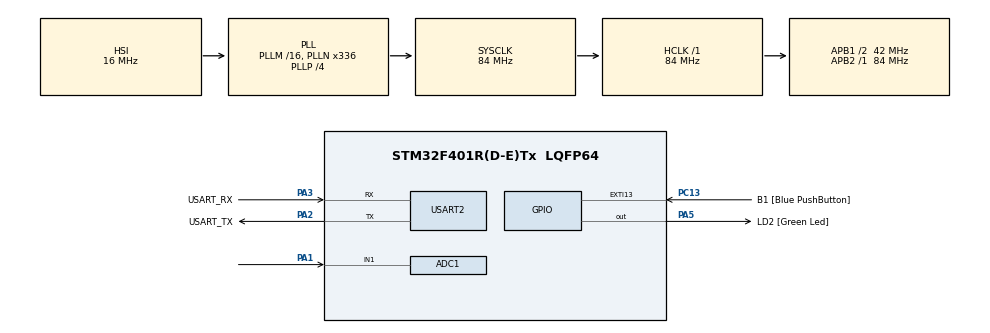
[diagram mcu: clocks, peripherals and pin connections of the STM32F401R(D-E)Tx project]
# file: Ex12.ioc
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ADC1.Channel-0\#ChannelRegularConversion=ADC_CHANNEL_1
ADC1.ExternalTrigConv=ADC_EXTERNALTRIGCONV_T3_TRGO
ADC1.NbrOfConversionFlag=1
ADC1.Rank-0\#ChannelRegularConversion=1
ADC1.SamplingTime-0\#ChannelRegularConversion=ADC_SAMPLETIME_480CYCLES
ADC1.master=1
Mcu.Family=STM32F4
Mcu.Name=STM32F401R(D-E)Tx
Mcu.Package=LQFP64
NVIC.ADC_IRQn=true\:0\:0\:true\:false\:true\:true\:true\:true
NVIC.PriorityGroup=NVIC_PRIORITYGROUP_0
NVIC.TIM1_TRG_COM_TIM11_IRQn=true\:0\:0\:true\:false\:true\:true\:true\:true
PA1.Signal=SharedAnalog_PA1
PA13.GPIO_Label=TMS
PA13.Mode=Serial_Wire
PA13.Signal=SYS_JTMS-SWDIO
PA14.GPIO_Label=TCK
PA14.Mode=Serial_Wire
PA14.Signal=SYS_JTCK-SWCLK
PA2.GPIO_Label=USART_TX
PA2.GPIO_Mode=GPIO_MODE_AF_PP
PA2.GPIO_PuPd=GPIO_NOPULL
PA2.GPIO_Speed=GPIO_SPEED_FREQ_LOW
PA2.Mode=Asynchronous
PA2.Signal=USART2_TX
PA3.GPIO_Label=USART_RX
PA3.GPIO_Mode=GPIO_MODE_AF_PP
PA3.GPIO_PuPd=GPIO_NOPULL
PA3.GPIO_Speed=GPIO_SPEED_FREQ_LOW
PA3.Mode=Asynchronous
PA3.Signal=USART2_RX
PA5.GPIO_Label=LD2 [Green Led]
PA5.GPIO_Mode=GPIO_MODE_OUTPUT_PP
PA5.GPIO_PuPd=GPIO_NOPULL
PA5.GPIO_Speed=GPIO_SPEED_FREQ_LOW
PA5.Signal=GPIO_Output
PB3.GPIO_Label=SWO
PB3.Signal=SYS_JTDO-SWO
PC13-ANTI_TAMP.GPIO_Label=B1 [Blue PushButton]
PC13-ANTI_TAMP.GPIO_ModeDefaultEXTI=GPIO_MODE_IT_FALLING
PC13-ANTI_TAMP.GPIO_PuPd=GPIO_NOPULL
PC13-ANTI_TAMP.Signal=GPXTI13
PC14-OSC32_IN.Mode=LSE-External-Oscillator
PC14-OSC32_IN.Signal=RCC_OSC32_IN
PC15-OSC32_OUT.Mode=LSE-External-Oscillator
PC15-OSC32_OUT.Signal=RCC_OSC32_OUT
PH0\ -\ OSC_IN.Mode=HSE-External-Clock-Source
PH0\ -\ OSC_IN.Signal=RCC_OSC_IN
PH1\ -\ OSC_OUT.Mode=HSE-External-Clock-Source
PH1\ -\ OSC_OUT.Signal=RCC_OSC_OUT
ProjectManager.HeapSize=0x200
ProjectManager.StackSize=0x400
ProjectManager.TargetToolchain=STM32CubeIDE
RCC.48MHZClocksFreq_Value=48000000
RCC.AHBFreq_Value=84000000
RCC.APB1CLKDivider=RCC_HCLK_DIV2
RCC.APB1Freq_Value=42000000
RCC.APB1TimFreq_Value=84000000
RCC.APB2Freq_Value=84000000
RCC.APB2TimFreq_Value=84000000
RCC.CortexFreq_Value=84000000
RCC.HCLKFreq_Value=84000000
RCC.HSE_VALUE=8000000
RCC.HSI_VALUE=16000000
RCC.PLLN=336
RCC.PLLP=RCC_PLLP_DIV4
RCC.PLLQ=7
RCC.SYSCLKFreq_VALUE=84000000
RCC.SYSCLKSource=RCC_SYSCLKSOURCE_PLLCLK
RCC.VCOOutputFreq_Value=336000000
SH.SharedAnalog_PA1.0=GPIO_Analog
SH.SharedAnalog_PA1.1=ADC1_IN1,IN1
TIM11.Period=10000-1
TIM11.Prescaler=8400-1
TIM3.Channel-PWM\ Generation1\ No\ Output=TIM_CHANNEL_1
TIM3.Period=10000-1
TIM3.Prescaler=8400-1
TIM3.Pulse-PWM\ Generation1\ No\ Output=5000-1
TIM3.TIM_MasterOutputTrigger=TIM_TRGO_UPDATE
USART2.VirtualMode=VM_ASYNC
VP_TIM11_VS_ClockSourceINT.Mode=Enable_Timer
VP_TIM3_VS_ClockSourceINT.Mode=Internal
VP_TIM3_VS_no_output1.Mode=PWM Generation1 No Output
board=NUCLEO-F401RE

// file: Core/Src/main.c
/* USER CODE BEGIN Header */
/**
  ******************************************************************************
  * @file           : main.c
  * @brief          : Main program body
  ******************************************************************************
  * @attention
  *
  * Copyright (c) 2023 STMicroelectronics.
  * All rights reserved.
  *
  * This software is licensed under terms that can be found in the LICENSE file
  * in the root directory of this software component.
  * If no LICENSE file comes with this software, it is provided AS-IS.
  *
  ******************************************************************************
  */
/* USER CODE END Header */
#include "main.h"

ADC_HandleTypeDef hadc1;

TIM_HandleTypeDef htim3;
TIM_HandleTypeDef htim11;

UART_HandleTypeDef huart2;

/* USER CODE BEGIN PV */
float voltage=0;
int flag=0;
/* USER CODE END PV */

void SystemClock_Config(void);
static void MX_GPIO_Init(void);
static void MX_USART2_UART_Init(void);
static void MX_ADC1_Init(void);
static void MX_TIM3_Init(void);
static void MX_TIM11_Init(void);
/* USER CODE BEGIN PFP */
void HAL_TIM_PeriodElapsedCallback(TIM_HandleTypeDef *htim){
	char string[64]="";
	snprintf(string, sizeof(string), "voltage: %0.3f\r\n",voltage);
	HAL_UART_Transmit(&huart2, string, sizeof(string), 1000);
	HAL_TIM_Base_Start_IT(&htim11);
}
void HAL_ADC_ConvCpltCallback(ADC_HandleTypeDef* hadc){
	flag=1;
}
/* USER CODE END PFP */

int main(void)
{

  /* MCU Configuration--------------------------------------------------------*/

  /* Reset of all peripherals, Initializes the Flash interface and the Systick. */
  HAL_Init();

  /* Configure the system clock */
  SystemClock_Config();

  /* Initialize all configured peripherals */
  MX_GPIO_Init();
  MX_USART2_UART_Init();
  MX_ADC1_Init();
  MX_TIM3_Init();
  MX_TIM11_Init();
  /* USER CODE BEGIN 2 */

  HAL_ADC_Start_IT(&hadc1);
  HAL_TIM_Base_Start_IT(&htim3);

  /* USER CODE END 2 */

  /* Infinite loop */
  /* USER CODE BEGIN WHILE */
  while (1)
  {
	  if(flag){
		  HAL_TIM_Base_Stop(&htim11);
		  int conversion=HAL_ADC_GetValue(&hadc1);
		  voltage= conversion*3.3/4096.0;
		  char string[64]="";
		  htim11.Instance = TIM11;
		  htim11.Init.Prescaler = 8400-1;
		  htim11.Init.CounterMode = TIM_COUNTERMODE_UP;
		  int val = (10000-((10000*voltage))/3.3);
		  if(val<100)
			  val=100;
		  htim11.Init.Period = (uint32_t)val;
		  htim11.Init.ClockDivision = TIM_CLOCKDIVISION_DIV1;
		  htim11.Init.AutoReloadPreload = TIM_AUTORELOAD_PRELOAD_DISABLE;
		  if (HAL_TIM_Base_Init(&htim11) != HAL_OK)
		  {
		  	Error_Handler();
		  }
		  HAL_TIM_Base_Start_IT(&htim11);
		  flag=0;
	  }
    /* USER CODE END WHILE */

  }
}

void SystemClock_Config(void)
{
  RCC_OscInitTypeDef RCC_OscInitStruct = {0};
  RCC_ClkInitTypeDef RCC_ClkInitStruct = {0};

  /** Configure the main internal regulator output voltage
  */
  __HAL_RCC_PWR_CLK_ENABLE();
  __HAL_PWR_VOLTAGESCALING_CONFIG(PWR_REGULATOR_VOLTAGE_SCALE2);

  /** Initializes the RCC Oscillators according to the specified parameters
  * in the RCC_OscInitTypeDef structure.
  */
  RCC_OscInitStruct.OscillatorType = RCC_OSCILLATORTYPE_HSI;
  RCC_OscInitStruct.HSIState = RCC_HSI_ON;
  RCC_OscInitStruct.HSICalibrationValue = RCC_HSICALIBRATION_DEFAULT;
  RCC_OscInitStruct.PLL.PLLState = RCC_PLL_ON;
  RCC_OscInitStruct.PLL.PLLSource = RCC_PLLSOURCE_HSI;
  RCC_OscInitStruct.PLL.PLLM = 16;
  RCC_OscInitStruct.PLL.PLLN = 336;
  RCC_OscInitStruct.PLL.PLLP = RCC_PLLP_DIV4;
  RCC_OscInitStruct.PLL.PLLQ = 7;
  if (HAL_RCC_OscConfig(&RCC_OscInitStruct) != HAL_OK)
  {
    Error_Handler();
  }

  /** Initializes the CPU, AHB and APB buses clocks
  */
  RCC_ClkInitStruct.ClockType = RCC_CLOCKTYPE_HCLK|RCC_CLOCKTYPE_SYSCLK
                              |RCC_CLOCKTYPE_PCLK1|RCC_CLOCKTYPE_PCLK2;
  RCC_ClkInitStruct.SYSCLKSource = RCC_SYSCLKSOURCE_PLLCLK;
  RCC_ClkInitStruct.AHBCLKDivider = RCC_SYSCLK_DIV1;
  RCC_ClkInitStruct.APB1CLKDivider = RCC_HCLK_DIV2;
  RCC_ClkInitStruct.APB2CLKDivider = RCC_HCLK_DIV1;

  if (HAL_RCC_ClockConfig(&RCC_ClkInitStruct, FLASH_LATENCY_2) != HAL_OK)
  {
    Error_Handler();
  }
}

static void MX_ADC1_Init(void)
{

  ADC_ChannelConfTypeDef sConfig = {0};

  /** Configure the global features of the ADC (Clock, Resolution, Data Alignment and number of conversion)
  */
  hadc1.Instance = ADC1;
  hadc1.Init.ClockPrescaler = ADC_CLOCK_SYNC_PCLK_DIV4;
  hadc1.Init.Resolution = ADC_RESOLUTION_12B;
  hadc1.Init.ScanConvMode = DISABLE;
  hadc1.Init.ContinuousConvMode = DISABLE;
  hadc1.Init.DiscontinuousConvMode = DISABLE;
  hadc1.Init.ExternalTrigConvEdge = ADC_EXTERNALTRIGCONVEDGE_RISING;
  hadc1.Init.ExternalTrigConv = ADC_EXTERNALTRIGCONV_T3_TRGO;
  hadc1.Init.DataAlign = ADC_DATAALIGN_RIGHT;
  hadc1.Init.NbrOfConversion = 1;
  hadc1.Init.DMAContinuousRequests = DISABLE;
  hadc1.Init.EOCSelection = ADC_EOC_SINGLE_CONV;
  if (HAL_ADC_Init(&hadc1) != HAL_OK)
  {
    Error_Handler();
  }

  /** Configure for the selected ADC regular channel its corresponding rank in the sequencer and its sample time.
  */
  sConfig.Channel = ADC_CHANNEL_1;
  sConfig.Rank = 1;
  sConfig.SamplingTime = ADC_SAMPLETIME_480CYCLES;
  if (HAL_ADC_ConfigChannel(&hadc1, &sConfig) != HAL_OK)
  {
    Error_Handler();
  }

}

static void MX_TIM3_Init(void)
{

  TIM_ClockConfigTypeDef sClockSourceConfig = {0};
  TIM_MasterConfigTypeDef sMasterConfig = {0};
  TIM_OC_InitTypeDef sConfigOC = {0};

  htim3.Instance = TIM3;
  htim3.Init.Prescaler = 8400-1;
  htim3.Init.CounterMode = TIM_COUNTERMODE_UP;
  htim3.Init.Period = 10000-1;
  htim3.Init.ClockDivision = TIM_CLOCKDIVISION_DIV1;
  htim3.Init.AutoReloadPreload = TIM_AUTORELOAD_PRELOAD_DISABLE;
  if (HAL_TIM_Base_Init(&htim3) != HAL_OK)
  {
    Error_Handler();
  }
  sClockSourceConfig.ClockSource = TIM_CLOCKSOURCE_INTERNAL;
  if (HAL_TIM_ConfigClockSource(&htim3, &sClockSourceConfig) != HAL_OK)
  {
    Error_Handler();
  }
  if (HAL_TIM_PWM_Init(&htim3) != HAL_OK)
  {
    Error_Handler();
  }
  sMasterConfig.MasterOutputTrigger = TIM_TRGO_UPDATE;
  sMasterConfig.MasterSlaveMode = TIM_MASTERSLAVEMODE_DISABLE;
  if (HAL_TIMEx_MasterConfigSynchronization(&htim3, &sMasterConfig) != HAL_OK)
  {
    Error_Handler();
  }
  sConfigOC.OCMode = TIM_OCMODE_PWM1;
  sConfigOC.Pulse = 5000-1;
  sConfigOC.OCPolarity = TIM_OCPOLARITY_HIGH;
  sConfigOC.OCFastMode = TIM_OCFAST_DISABLE;
  if (HAL_TIM_PWM_ConfigChannel(&htim3, &sConfigOC, TIM_CHANNEL_1) != HAL_OK)
  {
    Error_Handler();
  }

}

static void MX_TIM11_Init(void)
{

  htim11.Instance = TIM11;
  htim11.Init.Prescaler = 8400-1;
  htim11.Init.CounterMode = TIM_COUNTERMODE_UP;
  htim11.Init.Period = 10000-1;
  htim11.Init.ClockDivision = TIM_CLOCKDIVISION_DIV1;
  htim11.Init.AutoReloadPreload = TIM_AUTORELOAD_PRELOAD_DISABLE;
  if (HAL_TIM_Base_Init(&htim11) != HAL_OK)
  {
    Error_Handler();
  }

}

static void MX_USART2_UART_Init(void)
{

  huart2.Instance = USART2;
  huart2.Init.BaudRate = 115200;
  huart2.Init.WordLength = UART_WORDLENGTH_8B;
  huart2.Init.StopBits = UART_STOPBITS_1;
  huart2.Init.Parity = UART_PARITY_NONE;
  huart2.Init.Mode = UART_MODE_TX_RX;
  huart2.Init.HwFlowCtl = UART_HWCONTROL_NONE;
  huart2.Init.OverSampling = UART_OVERSAMPLING_16;
  if (HAL_UART_Init(&huart2) != HAL_OK)
  {
    Error_Handler();
  }

}

static void MX_GPIO_Init(void)
{
  GPIO_InitTypeDef GPIO_InitStruct = {0};

  /* GPIO Ports Clock Enable */
  __HAL_RCC_GPIOC_CLK_ENABLE();
  __HAL_RCC_GPIOH_CLK_ENABLE();
  __HAL_RCC_GPIOA_CLK_ENABLE();
  __HAL_RCC_GPIOB_CLK_ENABLE();

  /*Configure GPIO pin Output Level */
  HAL_GPIO_WritePin(LD2_GPIO_Port, LD2_Pin, GPIO_PIN_RESET);

  /*Configure GPIO pin : B1_Pin */
  GPIO_InitStruct.Pin = B1_Pin;
  GPIO_InitStruct.Mode = GPIO_MODE_IT_FALLING;
  GPIO_InitStruct.Pull = GPIO_NOPULL;
  HAL_GPIO_Init(B1_GPIO_Port, &GPIO_InitStruct);

  /*Configure GPIO pin : LD2_Pin */
  GPIO_InitStruct.Pin = LD2_Pin;
  GPIO_InitStruct.Mode = GPIO_MODE_OUTPUT_PP;
  GPIO_InitStruct.Pull = GPIO_NOPULL;
  GPIO_InitStruct.Speed = GPIO_SPEED_FREQ_LOW;
  HAL_GPIO_Init(LD2_GPIO_Port, &GPIO_InitStruct);

}

void Error_Handler(void)
{
  __disable_irq();
  while (1)
  {
  }
}
